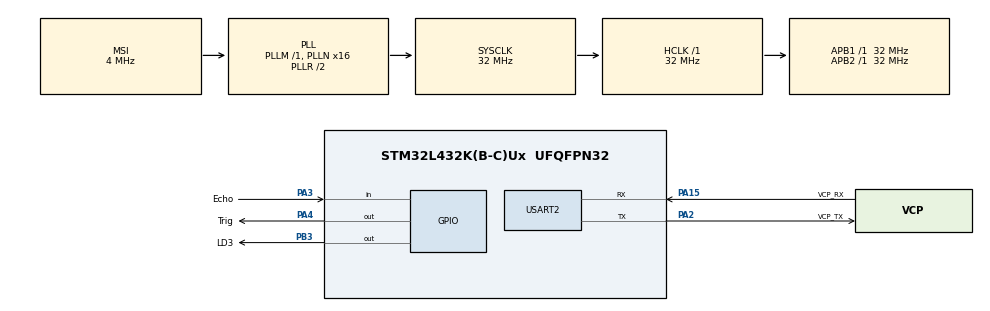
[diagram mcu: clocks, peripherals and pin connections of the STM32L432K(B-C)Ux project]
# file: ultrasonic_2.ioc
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Mcu.Family=STM32L4
Mcu.Name=STM32L432K(B-C)Ux
Mcu.Package=UFQFPN32
NVIC.PriorityGroup=NVIC_PRIORITYGROUP_4
NVIC.TIM1_BRK_TIM15_IRQn=true\:0\:0\:false\:false\:true\:true\:true\:true
NVIC.TIM1_CC_IRQn=true\:0\:0\:false\:false\:true\:true\:true\:true
NVIC.TIM1_TRG_COM_IRQn=true\:0\:0\:false\:false\:true\:true\:true\:true
NVIC.TIM1_UP_TIM16_IRQn=true\:0\:0\:false\:false\:true\:true\:true\:true
PA0.GPIO_Label=MCO [High speed clock in]
PA0.Mode=HSE-External-Clock-Source-for-LittleOrca
PA0.Signal=RCC_CK_IN
PA13\ (JTMS-SWDIO).GPIO_Label=SWDIO
PA13\ (JTMS-SWDIO).Mode=Serial_Wire
PA13\ (JTMS-SWDIO).Signal=SYS_JTMS-SWDIO
PA14\ (JTCK-SWCLK).GPIO_Label=SWCLK
PA14\ (JTCK-SWCLK).Mode=Serial_Wire
PA14\ (JTCK-SWCLK).Signal=SYS_JTCK-SWCLK
PA15\ (JTDI).GPIO_Label=VCP_RX
PA15\ (JTDI).Mode=Asynchronous
PA15\ (JTDI).Signal=USART2_RX
PA2.GPIO_Label=VCP_TX
PA2.Mode=Asynchronous
PA2.Signal=USART2_TX
PA3.GPIO_Label=Echo
PA3.Signal=GPIO_Input
PA4.GPIO_Label=Trig
PA4.Signal=GPIO_Output
PB3\ (JTDO-TRACESWO).GPIO_Label=LD3
PB3\ (JTDO-TRACESWO).Signal=GPIO_Output
PC14-OSC32_IN\ (PC14).Mode=LSE-External-Oscillator
PC14-OSC32_IN\ (PC14).Signal=RCC_OSC32_IN
PC15-OSC32_OUT\ (PC15).Mode=LSE-External-Oscillator
PC15-OSC32_OUT\ (PC15).Signal=RCC_OSC32_OUT
ProjectManager.HeapSize=0x200
ProjectManager.StackSize=0x400
ProjectManager.TargetToolchain=STM32CubeIDE
RCC.AHBFreq_Value=32000000
RCC.APB1Freq_Value=32000000
RCC.APB1TimFreq_Value=32000000
RCC.APB2Freq_Value=32000000
RCC.APB2TimFreq_Value=32000000
RCC.CortexFreq_Value=32000000
RCC.HCLKFreq_Value=32000000
RCC.HSE_VALUE=8000000
RCC.HSI16_VALUE=16000000
RCC.HSI48_VALUE=48000000
RCC.HSI_VALUE=16000000
RCC.MSI_VALUE=4000000
RCC.PLLMUL=RCC_PLLMUL_4
RCC.PLLN=16
RCC.SYSCLKFreq_VALUE=32000000
RCC.SYSCLKSource=RCC_SYSCLKSOURCE_PLLCLK
RCC.VCOOutputFreq_Value=64000000
TIM1.Period=1000
TIM1.Prescaler=31
TIM16.Prescaler=31
USART2.VirtualMode-Asynchronous=VM_ASYNC
VP_TIM16_VS_ClockSourceINT.Mode=Enable_Timer
VP_TIM1_VS_ClockSourceINT.Mode=Internal
board=NUCLEO-L432KC

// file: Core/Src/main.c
/* USER CODE BEGIN Header */
/**
  ******************************************************************************
  * @file           : main.c
  * @brief          : Main program body
  ******************************************************************************
  * @attention
  *
  * Copyright (c) 2025 STMicroelectronics.
  * All rights reserved.
  *
  * This software is licensed under terms that can be found in the LICENSE file
  * in the root directory of this software component.
  * If no LICENSE file comes with this software, it is provided AS-IS.
  *
  ******************************************************************************
  */
/* USER CODE END Header */
#include "main.h"

TIM_HandleTypeDef htim1;
TIM_HandleTypeDef htim16;

UART_HandleTypeDef huart2;

void SystemClock_Config(void);
static void MX_GPIO_Init(void);
static void MX_USART2_UART_Init(void);
static void MX_TIM1_Init(void);
static void MX_TIM16_Init(void);

/* USER CODE BEGIN 0 */
uint8_t distance;
uint8_t in_range = 0;
uint32_t timeout;

uint8_t buffer = 5;
uint8_t start_bit = 1;
uint8_t length;
uint8_t echo_started = 0;

void HAL_TIM_PeriodElapsedCallback(TIM_HandleTypeDef *tim) {
	  if(tim->Instance == TIM1){
		  echo_started = 0;
		  HAL_GPIO_WritePin(Trig_GPIO_Port, Trig_Pin, 1);
		  __HAL_TIM_SET_COUNTER(&htim16, 0);

		  timeout = 30000;
		  while(timeout--){
			  if(__HAL_TIM_GET_COUNTER(&htim16) >= 10){
				  HAL_GPIO_WritePin(Trig_GPIO_Port, Trig_Pin, 0);
				  break;
			  }
		  }
		  timeout = 30000;
		  while(timeout--){
			  if(HAL_GPIO_ReadPin(Echo_GPIO_Port, Echo_Pin) == 1){
				  __HAL_TIM_SET_COUNTER(&htim16, 0);
				  echo_started = 1;
				  break;
			  }
		  }
		  timeout = 30000;
		  if(echo_started == 1){
		  while(timeout--){
			  if(HAL_GPIO_ReadPin(Echo_GPIO_Port, Echo_Pin) == 0){
				  distance = (__HAL_TIM_GET_COUNTER(&htim16)) / 58;
				  if(in_range == 0){
					  if(distance <= 20){
						  in_range = 1;
						  HAL_GPIO_WritePin(Test1_GPIO_Port, Test1_Pin, 1);
						  HAL_GPIO_WritePin(LD3_GPIO_Port, LD3_Pin, 1);
					  }
				  } else if(in_range == 1) {
					  if(distance > 25){
					  in_range = 0;
					  HAL_GPIO_WritePin(Test1_GPIO_Port, Test1_Pin, 0);
					  HAL_GPIO_WritePin(LD3_GPIO_Port, LD3_Pin, 0);
					  }
				  }
				  break;
			  }

		  }
	  }
}
/* USER CODE END 0 */

int main(void)
{

  /* MCU Configuration--------------------------------------------------------*/

  /* Reset of all peripherals, Initializes the Flash interface and the Systick. */
  HAL_Init();

  /* Configure the system clock */
  SystemClock_Config();

  /* Initialize all configured peripherals */
  MX_GPIO_Init();
  MX_USART2_UART_Init();
  MX_TIM1_Init();
  MX_TIM16_Init();
  /* USER CODE BEGIN 2 */
  HAL_TIM_Base_Start_IT(&htim1);
  HAL_TIM_Base_Start(&htim16);
  /* USER CODE END 2 */

  /* Infinite loop */
  while (1)
  {

  }
}

void SystemClock_Config(void)
{
  RCC_OscInitTypeDef RCC_OscInitStruct = {0};
  RCC_ClkInitTypeDef RCC_ClkInitStruct = {0};

  /** Configure the main internal regulator output voltage
  */
  if (HAL_PWREx_ControlVoltageScaling(PWR_REGULATOR_VOLTAGE_SCALE1) != HAL_OK)
  {
    Error_Handler();
  }

  /** Configure LSE Drive Capability
  */
  HAL_PWR_EnableBkUpAccess();
  __HAL_RCC_LSEDRIVE_CONFIG(RCC_LSEDRIVE_LOW);

  /** Initializes the RCC Oscillators according to the specified parameters
  * in the RCC_OscInitTypeDef structure.
  */
  RCC_OscInitStruct.OscillatorType = RCC_OSCILLATORTYPE_LSE|RCC_OSCILLATORTYPE_MSI;
  RCC_OscInitStruct.LSEState = RCC_LSE_ON;
  RCC_OscInitStruct.MSIState = RCC_MSI_ON;
  RCC_OscInitStruct.MSICalibrationValue = 0;
  RCC_OscInitStruct.MSIClockRange = RCC_MSIRANGE_6;
  RCC_OscInitStruct.PLL.PLLState = RCC_PLL_ON;
  RCC_OscInitStruct.PLL.PLLSource = RCC_PLLSOURCE_MSI;
  RCC_OscInitStruct.PLL.PLLM = 1;
  RCC_OscInitStruct.PLL.PLLN = 16;
  RCC_OscInitStruct.PLL.PLLP = RCC_PLLP_DIV7;
  RCC_OscInitStruct.PLL.PLLQ = RCC_PLLQ_DIV2;
  RCC_OscInitStruct.PLL.PLLR = RCC_PLLR_DIV2;
  if (HAL_RCC_OscConfig(&RCC_OscInitStruct) != HAL_OK)
  {
    Error_Handler();
  }

  /** Initializes the CPU, AHB and APB buses clocks
  */
  RCC_ClkInitStruct.ClockType = RCC_CLOCKTYPE_HCLK|RCC_CLOCKTYPE_SYSCLK
                              |RCC_CLOCKTYPE_PCLK1|RCC_CLOCKTYPE_PCLK2;
  RCC_ClkInitStruct.SYSCLKSource = RCC_SYSCLKSOURCE_PLLCLK;
  RCC_ClkInitStruct.AHBCLKDivider = RCC_SYSCLK_DIV1;
  RCC_ClkInitStruct.APB1CLKDivider = RCC_HCLK_DIV1;
  RCC_ClkInitStruct.APB2CLKDivider = RCC_HCLK_DIV1;

  if (HAL_RCC_ClockConfig(&RCC_ClkInitStruct, FLASH_LATENCY_1) != HAL_OK)
  {
    Error_Handler();
  }

  /** Enable MSI Auto calibration
  */
  HAL_RCCEx_EnableMSIPLLMode();
}

static void MX_TIM1_Init(void)
{

  TIM_ClockConfigTypeDef sClockSourceConfig = {0};
  TIM_MasterConfigTypeDef sMasterConfig = {0};

  htim1.Instance = TIM1;
  htim1.Init.Prescaler = 31;
  htim1.Init.CounterMode = TIM_COUNTERMODE_UP;
  htim1.Init.Period = 1000;
  htim1.Init.ClockDivision = TIM_CLOCKDIVISION_DIV1;
  htim1.Init.RepetitionCounter = 0;
  htim1.Init.AutoReloadPreload = TIM_AUTORELOAD_PRELOAD_DISABLE;
  if (HAL_TIM_Base_Init(&htim1) != HAL_OK)
  {
    Error_Handler();
  }
  sClockSourceConfig.ClockSource = TIM_CLOCKSOURCE_INTERNAL;
  if (HAL_TIM_ConfigClockSource(&htim1, &sClockSourceConfig) != HAL_OK)
  {
    Error_Handler();
  }
  sMasterConfig.MasterOutputTrigger = TIM_TRGO_RESET;
  sMasterConfig.MasterOutputTrigger2 = TIM_TRGO2_RESET;
  sMasterConfig.MasterSlaveMode = TIM_MASTERSLAVEMODE_DISABLE;
  if (HAL_TIMEx_MasterConfigSynchronization(&htim1, &sMasterConfig) != HAL_OK)
  {
    Error_Handler();
  }

}

static void MX_TIM16_Init(void)
{

  htim16.Instance = TIM16;
  htim16.Init.Prescaler = 31;
  htim16.Init.CounterMode = TIM_COUNTERMODE_UP;
  htim16.Init.Period = 65535;
  htim16.Init.ClockDivision = TIM_CLOCKDIVISION_DIV1;
  htim16.Init.RepetitionCounter = 0;
  htim16.Init.AutoReloadPreload = TIM_AUTORELOAD_PRELOAD_DISABLE;
  if (HAL_TIM_Base_Init(&htim16) != HAL_OK)
  {
    Error_Handler();
  }

}

static void MX_USART2_UART_Init(void)
{

  huart2.Instance = USART2;
  huart2.Init.BaudRate = 115200;
  huart2.Init.WordLength = UART_WORDLENGTH_8B;
  huart2.Init.StopBits = UART_STOPBITS_1;
  huart2.Init.Parity = UART_PARITY_NONE;
  huart2.Init.Mode = UART_MODE_TX_RX;
  huart2.Init.HwFlowCtl = UART_HWCONTROL_NONE;
  huart2.Init.OverSampling = UART_OVERSAMPLING_16;
  huart2.Init.OneBitSampling = UART_ONE_BIT_SAMPLE_DISABLE;
  huart2.AdvancedInit.AdvFeatureInit = UART_ADVFEATURE_NO_INIT;
  if (HAL_UART_Init(&huart2) != HAL_OK)
  {
    Error_Handler();
  }

}

static void MX_GPIO_Init(void)
{
  GPIO_InitTypeDef GPIO_InitStruct = {0};

  /* GPIO Ports Clock Enable */
  __HAL_RCC_GPIOC_CLK_ENABLE();
  __HAL_RCC_GPIOA_CLK_ENABLE();
  __HAL_RCC_GPIOB_CLK_ENABLE();

  /*Configure GPIO pin Output Level */
  HAL_GPIO_WritePin(Trigger_GPIO_Port, Trigger_Pin, GPIO_PIN_RESET);

  /*Configure GPIO pin Output Level */
  HAL_GPIO_WritePin(LD3_GPIO_Port, LD3_Pin, GPIO_PIN_RESET);

  /*Configure GPIO pin : Echo_Pin */
  GPIO_InitStruct.Pin = Echo_Pin;
  GPIO_InitStruct.Mode = GPIO_MODE_INPUT;
  GPIO_InitStruct.Pull = GPIO_NOPULL;
  HAL_GPIO_Init(Echo_GPIO_Port, &GPIO_InitStruct);

  /*Configure GPIO pin : Trigger_Pin */
  GPIO_InitStruct.Pin = Trigger_Pin;
  GPIO_InitStruct.Mode = GPIO_MODE_OUTPUT_PP;
  GPIO_InitStruct.Pull = GPIO_NOPULL;
  GPIO_InitStruct.Speed = GPIO_SPEED_FREQ_LOW;
  HAL_GPIO_Init(Trigger_GPIO_Port, &GPIO_InitStruct);

  /*Configure GPIO pin : LD3_Pin */
  GPIO_InitStruct.Pin = LD3_Pin;
  GPIO_InitStruct.Mode = GPIO_MODE_OUTPUT_PP;
  GPIO_InitStruct.Pull = GPIO_NOPULL;
  GPIO_InitStruct.Speed = GPIO_SPEED_FREQ_LOW;
  HAL_GPIO_Init(LD3_GPIO_Port, &GPIO_InitStruct);

}

void Error_Handler(void)
{
  __disable_irq();
  while (1)
  {
  }
}
